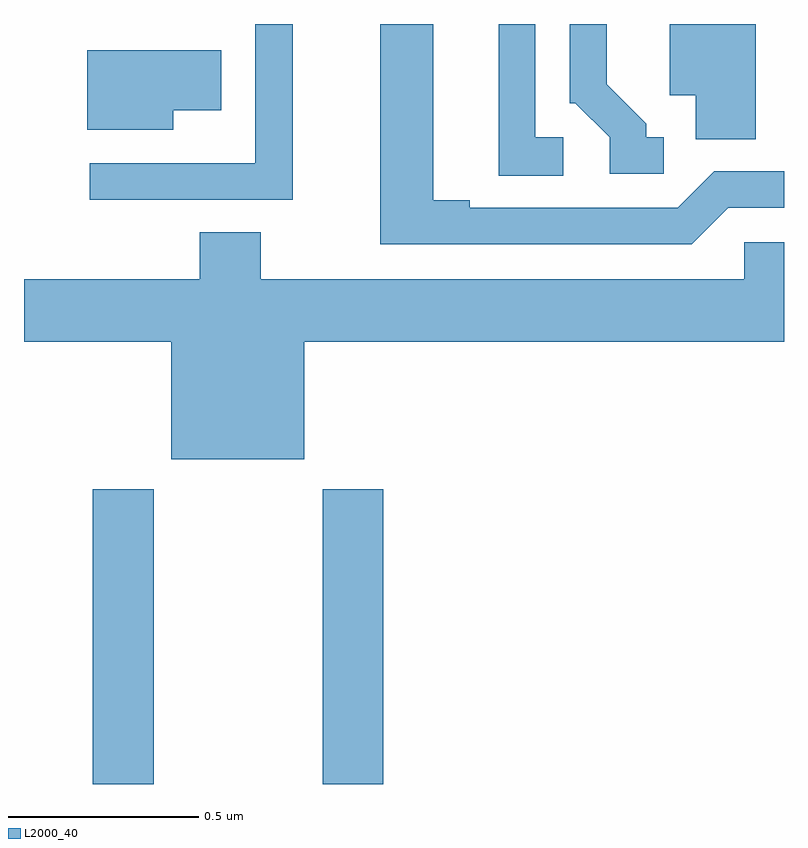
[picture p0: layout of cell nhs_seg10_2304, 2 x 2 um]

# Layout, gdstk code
import gdstk
lib = gdstk.Library(unit=1e-6, precision=1e-09)
def R(c, l, rs):  # rectangles x0, y0, x1, y1
    for r in rs: c.add(gdstk.rectangle(r[:2], r[2:], *l))
def P(c, l, *ps):  # polygons
    for p in ps: c.add(gdstk.Polygon(p, *l))
L2000_40 = (2000, 40)

nhs_seg10_2304 = lib.new_cell('nhs_seg10_2304')
R(nhs_seg10_2304, L2000_40, [(139.181,1284.5,139.341,1285.276), (139.786,1284.5,139.946,1285.276)])
P(nhs_seg10_2304, L2000_40, [(140.683,1286.202),(140.638,1286.202),(140.638,1286.237),(140.533,1286.342),(140.533,1286.5),(140.436,1286.5),(140.436,1286.292),(140.451,1286.292),(140.541,1286.202),(140.541,1286.106),(140.683,1286.106)],
  [(140.853,1286.016),(141,1286.016),(141,1286.112),(140.817,1286.112),(140.721,1286.016),(140.173,1286.016),(140.173,1286.036),(140.077,1286.036),(140.077,1286.5),(139.937,1286.5),(139.937,1285.92),(140.757,1285.92)],
  [(139.707,1286.5),(139.608,1286.5),(139.608,1286.134),(139.607,1286.134),(139.607,1286.133),(139.173,1286.133),(139.173,1286.037),(139.707,1286.037)],
  [(140.419,1286.202),(140.346,1286.202),(140.346,1286.5),(140.249,1286.5),(140.249,1286.101),(140.419,1286.101)],
  [(140.926,1286.5),(140.699,1286.5),(140.699,1286.312),(140.768,1286.312),(140.768,1286.197),(140.926,1286.197)],
  [(139.393,1286.273),(139.519,1286.273),(139.519,1286.431),(139.166,1286.431),(139.166,1286.222),(139.393,1286.222)],
  [(139.738,1285.664),(141,1285.664),(141,1285.926),(140.895,1285.926),(140.895,1285.828),(139.623,1285.828),(139.623,1285.952),(139.463,1285.952),(139.463,1285.828),(139,1285.828),(139,1285.664),(139.388,1285.664),(139.388,1285.355),(139.738,1285.355)])

lib.write_gds('nhs_seg10_2304.gds')
